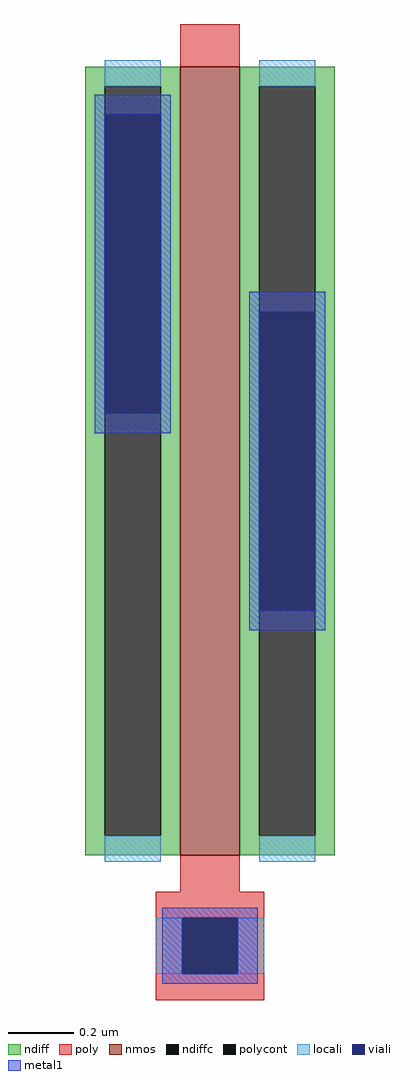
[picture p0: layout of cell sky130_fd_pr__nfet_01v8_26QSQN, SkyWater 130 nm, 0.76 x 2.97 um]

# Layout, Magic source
magic
tech sky130A
magscale 1 2
<< nmos >>
rect -18 -209 18 271
<< ndiff >>
rect -76 259 -18 271
rect -76 -197 -64 259
rect -30 -197 -18 259
rect -76 -209 -18 -197
rect 18 259 76 271
rect 18 -197 30 259
rect 64 -197 76 259
rect 18 -209 76 -197
<< ndiffc >>
rect -64 -197 -30 259
rect 30 -197 64 259
<< poly >>
rect -18 271 18 297
rect -18 -231 18 -209
rect -33 -247 33 -231
rect -33 -281 -17 -247
rect 17 -281 33 -247
rect -33 -297 33 -281
<< polycont >>
rect -17 -281 17 -247
<< locali >>
rect -64 259 -30 275
rect -64 -213 -30 -197
rect 30 259 64 275
rect 30 -213 64 -197
rect -33 -281 -17 -247
rect 17 -281 33 -247
<< viali >>
rect -64 60 -30 242
rect 30 -60 64 122
rect -17 -281 17 -247
<< metal1 >>
rect -70 242 -24 254
rect -70 60 -64 242
rect -30 60 -24 242
rect -70 48 -24 60
rect 24 122 70 134
rect 24 -60 30 122
rect 64 -60 70 122
rect 24 -72 70 -60
rect -29 -247 29 -241
rect -29 -281 -17 -247
rect 17 -281 29 -247
rect -29 -287 29 -281
<< properties >>
string gencell sky130_fd_pr__nfet_01v8
string library sky130
string parameters w 2.4 l 0.18 m 1 nf 1 diffcov 100 polycov 100 guard 0 glc 0 grc 0 gtc 0 gbc 0 tbcov 100 rlcov 100 topc 0 botc 1 poverlap 0 doverlap 1 lmin 0.15 wmin 0.42 compatible {sky130_fd_pr__nfet_01v8 sky130_fd_pr__nfet_01v8_lvt  sky130_fd_bs_flash__special_sonosfet_star  sky130_fd_pr__nfet_g5v0d10v5 sky130_fd_pr__nfet_05v0_nvt  sky130_fd_pr__nfet_03v3_nvt} full_metal 0 viasrc 40 viadrn -40 viagate 100 viagb 80 viagr 0 viagl 0 viagt 0
<< end >>
